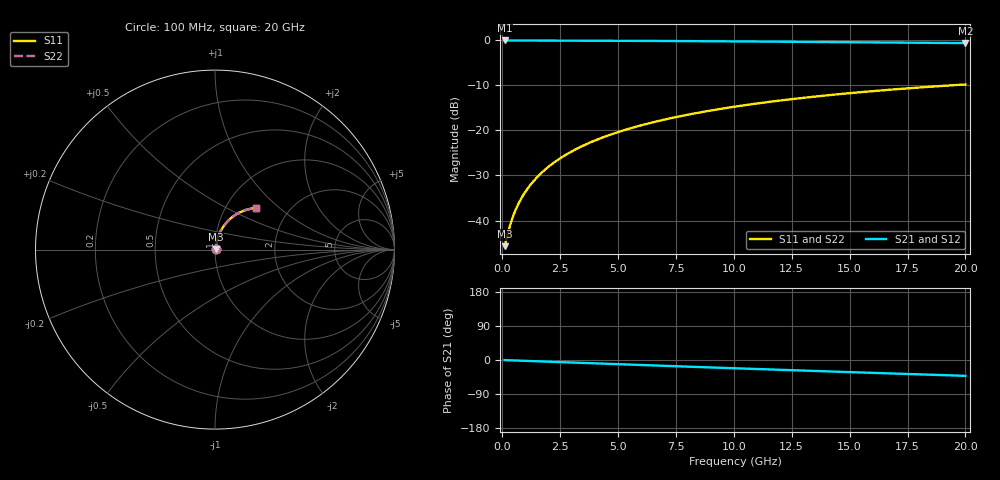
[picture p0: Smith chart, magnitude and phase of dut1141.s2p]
! Touchstone file exported from HFSS 2026.1.0
!  File:  C:/ffzhzh/LocalFiles/Ansys_Project_Files/temp_train_TMRDL_1141_1783161946_55132.aedt
!  Generated:  06:46:57 PM Jul  4, 2026
!  Design:  TMRDL
!  Project:  temp_train_TMRDL_1141_1783161946_55132
! Variables:
!  h_bsmrdl = 2um
!  h_ox = 20um
!  h_rdl = 5um
!  h_sub = 80um
!  h_tmrdl = 3.13um
!  h_tsv = 80um
!  h_via = 3um
!  l_bsmrdl = 300um
!  l_sub = 1060.34um
!  l_tmrdl = 660.34um
!  m_sub = 200um
!  pitch = 31.12um
!  r_tsv = 6um
!  s_tmrdl = 10um
!  w_bsmrdl = 18um
!  w_sub = 500um
!  w_tmrdl = 16.41um
!  x_tsv_center1 = 668.545um
!  x_tsv_center2 = 986.545um
!  x_tsv_center3 = 1663.295um
!  x_tsv_center4 = 1981.295um
!  x_tsv_center5 = 2658.045um
!  x_tsv_center6 = 2976.045um
# GHz S MA R 50.000000
! Terminal data exported
! Port[1] = TM_RDL1_1_T1
! Port[2] = TM_RDL1_1_T2
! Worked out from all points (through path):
!   200 points, 100 MHz to 20 GHz, reference 50 ohm
!   highest |S21| = -0.04 dB at 100 MHz (marker M1); lowest = -0.6 dB at 20 GHz (marker M2)
!   group delay of S21, straight-line fit = 5.81 ps
!   lowest |S11| = -45.7 dB at 100 MHz (marker M3), VSWR 1.01, Z = 50.5 + j0.223 ohm
!   |S11| at or under -10 dB: start of sweep to 19.38 GHz
!   |S22| runs from -45.7 to -9.8 dB; largest |S21 - S12| = 2e-15
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0.1  0.005195 25.1  0.9953 -0.2  0.9953 -0.2  0.005195 25.1
! Gamma 0 0 0 0
! Port Impedance 50 0 50 0
0.3  0.008208 51.6  0.995 -0.7  0.995 -0.7  0.008208 51.6
0.4  0.009981 57.6  0.9947 -0.9  0.9947 -0.9  0.009981 57.6
0.5  0.01178 61.6  0.9946 -1.2  0.9946 -1.2  0.01178 61.6
0.6  0.01359 64.6  0.9944 -1.4  0.9944 -1.4  0.01359 64.6
0.7  0.0154 66.8  0.9942 -1.6  0.9942 -1.6  0.0154 66.8
0.9  0.01905 70.1  0.994 -2.0  0.994 -2.0  0.01905 70.1
1.2  0.02458 73.1  0.9937 -2.7  0.9937 -2.7  0.02458 73.1
1.4  0.02831 74.3  0.9935 -3.1  0.9935 -3.1  0.02831 74.3
1.7  0.03394 75.5  0.9932 -3.8  0.9932 -3.8  0.03394 75.6
2.2  0.04337 76.5  0.9926 -4.9  0.9926 -4.9  0.04337 76.5
2.8  0.05471 76.7  0.9918 -6.2  0.9918 -6.2  0.05471 76.7
3.5  0.06789 76.2  0.9907 -7.8  0.9907 -7.8  0.06789 76.2
4.2  0.08098 75.4  0.9893 -9.3  0.9893 -9.3  0.08098 75.4
5  0.09577 74.2  0.9875 -11.1  0.9875 -11.1  0.09576 74.2
5.9  0.1122 72.6  0.9852 -13.0  0.9852 -13.0  0.1122 72.6
6.8  0.1282 70.9  0.9826 -15.0  0.9826 -15.0  0.1282 71.0
8.3  0.1543 68.1  0.9779 -18.2  0.9779 -18.2  0.1543 68.1
10.1  0.1844 64.5  0.9716 -22.0  0.9716 -22.0  0.1844 64.5
13.4  0.2358 58.1  0.9587 -28.8  0.9587 -28.8  0.2358 58.1
16.7  0.2822 51.7  0.9449 -35.4  0.9449 -35.4  0.2822 51.7
20  0.3235 45.5  0.9309 -41.8  0.9309 -41.8  0.3235 45.6
